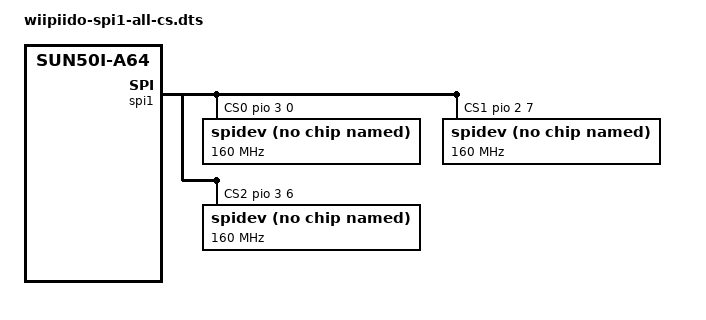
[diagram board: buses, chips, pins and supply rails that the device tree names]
/dts-v1/;
/plugin/;

/ {
	compatible = "allwinner,sun50i-a64";
	
    fragment@0 {
		target = <&pio>;
		__overlay__ {
            spi1_cs0: spi1_cs0 {
				pins = "PD0";
                function = "gpio_out";
				output-high;
			};
            spi1_cs1: spi1_cs1 {
				pins = "PC7";
                function = "gpio_out";
				output-high;
			};
            spi1_cs2: spi1_cs2 {
				pins = "PD6";
                function = "gpio_out";
				output-high;
			};
		};
	};

	fragment@1 {
		target = <&spi1>;

		__overlay__ {
			#address-cells = <1>;
			#size-cells = <0>;
			status = "okay";
			num-cs = <3>;
			cs-gpios = <&pio 3 0 0>, <&pio 2 7 0>, <&pio 3 6 0>;
            pinctrl-names = "default", "default", "default";
            
			spidev@0 {
				compatible = "spidev";
				reg = <0>; 
				spi-max-frequency = <160000000>;
				status = "okay";
			};

			spidev@1 {
				compatible = "spidev";
				reg = <1>;
				spi-max-frequency = <160000000>;
				status = "okay";
			};

			spidev@2 {
				compatible = "spidev";
				reg = <2>;
				spi-max-frequency = <160000000>;
				status = "okay";
			};
		};
	};
};
